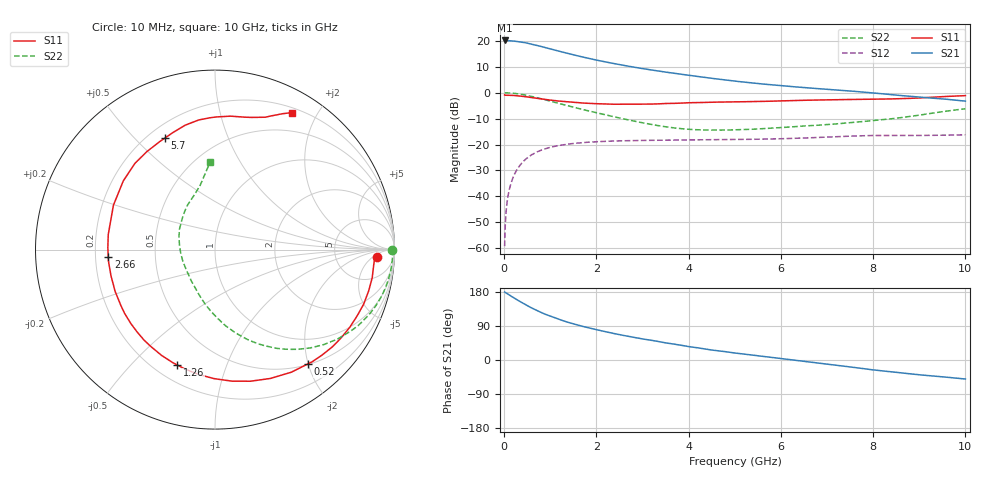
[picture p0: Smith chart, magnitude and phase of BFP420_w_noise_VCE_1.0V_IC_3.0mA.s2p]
! Infineon Technologies  Discrete & RF Semiconductors
! BFP420
! VCE =  1.0 V,  IC =  3.0 mA
! Common Emitter S-Parameters:  Jan 2016
# GHz  S  MA  R  50
!  f  S11  S21  S12  S22
! GHz  MAG  ANG  MAG  ANG  MAG  ANG  MAG  ANG
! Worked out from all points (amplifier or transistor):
!   233 points, 10 MHz to 10 GHz, reference 50 ohm
!   highest |S21| = 20.1 dB at 10 MHz (marker M1)
!   |S21| within 3 dB of that: start of sweep to 948.6 MHz
!   unconditionally stable (mu >= 1): 3.507 GHz to end of sweep
!   at 200 MHz: K = 0.05, MSG = 26.1 dB, |S12| = -32.4 dB
!   at 1.74 GHz: K = 0.47, MSG = 16.4 dB, |S12| = -19.2 dB
!   at 10 GHz: K = 1.16, MAG = 4.1 dB, |S12| = -16.3 dB
!   lowest NFmin = 0.57 dB at 900 MHz
!   S11 on the Smith chart (normalised r, x): 10 MHz: 17, -7; 520 MHz: 0.51, -2.00; 1.26 GHz: 0.29, -0.69; 2.66 GHz: 0.25, -0.03; 5.7 GHz: 0.27, +0.61; 10 GHz: 0.26, +1.68
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0.01  0.9042 -2.6  10.13 179.4  0.0011 86.3  0.9885 0.0
0.02  0.8919 -1.9  9.915 178.8  0.0023 85.8  0.9904 -1.3
0.045  0.8893 -4.2  9.953 176.6  0.0055 88.9  0.99 -2.9
0.12  0.8877 -12.2  9.982 170.9  0.0145 82.8  0.9841 -7.8
0.3  0.8666 -30.0  9.656 157.4  0.0352 73.3  0.9494 -19.2
0.42  0.844 -41.5  9.28 149.0  0.0476 66.7  0.912 -26.3
0.52  0.821 -50.8  8.907 142.3  0.0569 61.7  0.875 -31.8
0.68  0.7847 -64.9  8.269 132.3  0.0697 54.5  0.8118 -40.2
0.8  0.7596 -74.9  7.766 125.6  0.0777 49.7  0.7636 -45.8
1.02  0.7149 -91.7  6.9 114.6  0.0892 42.1  0.6782 -54.9
1.26  0.6766 -108.0  6.058 104.4  0.0983 35.2  0.5952 -63.4
1.42  0.6576 -117.9  5.576 98.2  0.1028 31.4  0.5469 -68.6
1.68  0.6326 -132.5  4.91 89.5  0.1085 26.1  0.4784 -76.0
2.2  0.6032 -157.3  3.901 74.5  0.1155 17.8  0.3727 -89.4
2.66  0.5963 -176.3  3.271 63.2  0.1187 12.2  0.3024 -101.4
3.4  0.6106 159.4  2.564 47.5  0.1212 5.7  0.2266 -122.9
4.3  0.6462 137.0  1.991 30.2  0.1235 0.0  0.191 -153.8
5.1  0.6662 123.3  1.631 17.1  0.1254 -3.6  0.1928 -177.1
5.7  0.6812 114.2  1.441 8.3  0.1275 -5.6  0.2036 167.8
6.8  0.721 99.6  1.195 -7.9  0.1369 -9.6  0.2356 144.8
8.4  0.7563 77.3  0.913 -31.5  0.1494 -20.6  0.314 113.7
10  0.8754 60.7  0.686 -50.2  0.1539 -27.9  0.4896 93.1
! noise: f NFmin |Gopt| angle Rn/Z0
0.9  0.57  0.35  33  0.18
1.8  1.02  0.2  79  0.14
2.4  1.1  0.23  104  0.14
3  1.25  0.24  144  0.11
4  1.46  0.33  -159  0.1
5  1.9  0.39  -128  0.22
6  2.46  0.48  -107  0.35
